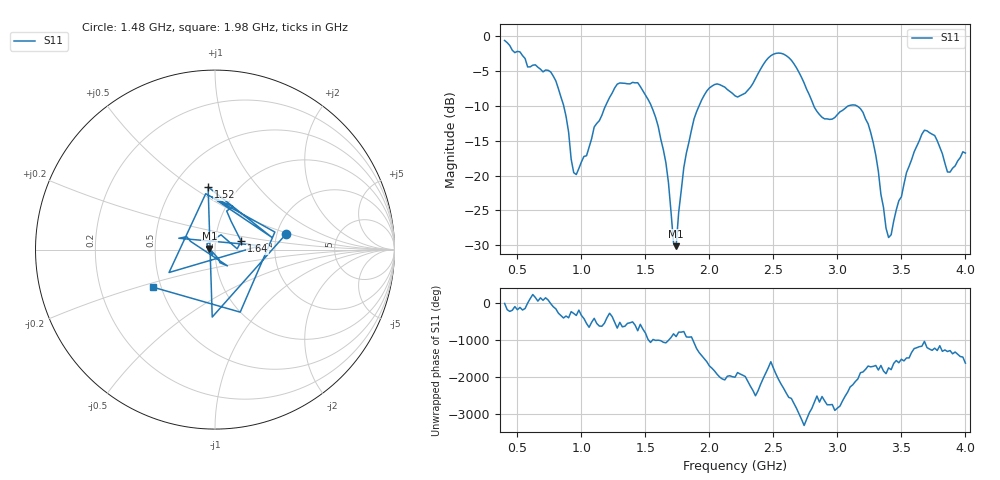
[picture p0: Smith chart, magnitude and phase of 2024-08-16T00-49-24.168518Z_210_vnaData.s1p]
!Created with skrf (http://scikit-rf.org).
# Hz S RI R 50.0
!freq ReS11 ImS11
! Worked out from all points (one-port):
!   181 points, 400 MHz to 4 GHz, reference 50 ohm
!   lowest |S11| = -30.1 dB at 1.74 GHz (marker M1), VSWR 1.06, Z = 47 + j0.49 ohm
!   |S11| at or under -10 dB: 861.2 MHz to 1.19 GHz (328.6 MHz wide, 32 % of centre); 1.545 GHz to 1.92 GHz (375.7 MHz wide, 21.7 % of centre); 3.147 GHz to end of sweep (the widest 3 of 4)
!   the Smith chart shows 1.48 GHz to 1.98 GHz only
!   S11 on the Smith chart (normalised r, x): 1.48 GHz: 2.24, +0.46; 1.52 GHz: 0.73, +0.58; 1.64 GHz: 1.33, +0.13; 1.98 GHz: 0.45, -0.23
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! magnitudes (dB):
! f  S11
! 400 MHz  -0.7
! 760 MHz  -5.2
! 860 MHz  -9.9
! 920 MHz  -17.7
! 960 MHz  -19.9
! 1.3 GHz  -6.8
! 1.48 GHz  -7.9
! 1.52 GHz  -9.1
! 1.64 GHz  -16.3
! 1.68 GHz  -21.0
! 1.72 GHz  -29.7
! 1.74 GHz  -30.1
! 1.76 GHz  -25.3
! 1.8 GHz  -18.9
! 1.88 GHz  -11.9
! 1.98 GHz  -7.9
! 2.2 GHz  -8.6
! 2.5 GHz  -2.7
! 2.66 GHz  -4.0
! 2.88 GHz  -11.7
! 3.1 GHz  -10.0
! 3.26 GHz  -13.8
! 3.4 GHz  -28.9
! 3.56 GHz  -18.7
! 3.68 GHz  -13.5
! 3.76 GHz  -14.3
! 3.86 GHz  -19.5
! 4 GHz  -16.8
